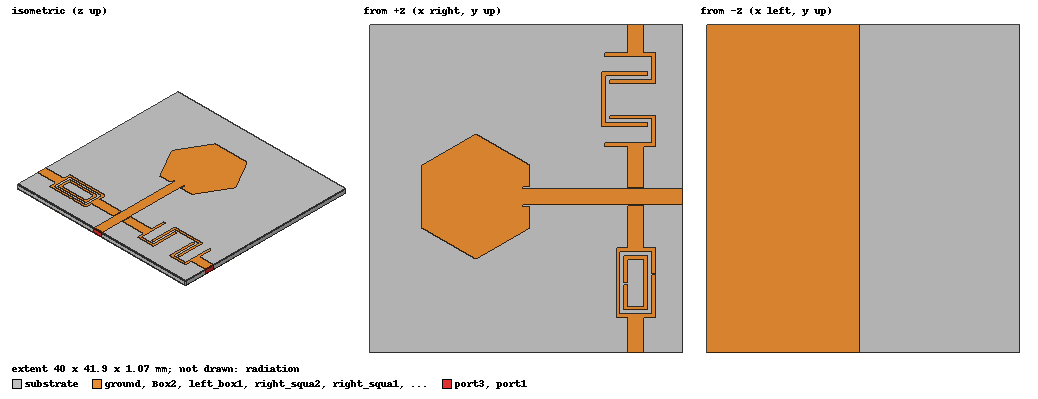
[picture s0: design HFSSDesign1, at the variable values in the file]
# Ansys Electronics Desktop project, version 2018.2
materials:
  vacuum: permittivity=1
  air: permittivity=1.0006 permeability=1.0000004
  copper: permeability=0.999991 conductivity=58000000
  FR4_epoxy: permittivity=4.4 dielectric_loss_tangent=0.02

design HFSSDesign1 (HFSS, DrivenModal, model units mm)
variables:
  x_substrate = 40mm
  y_substrate = 40mm
  z_substrate = 1mm
  l = 20mm
  raidus = 8.5mm
  b = 2mm
  t = 0.035mm
  l1 = 4.5mm
  b1 = 2mm
  b2 = 5mm
  l2 = 8mm
  l3 = 6mm
  b3 = 3mm
  l4 = 5.3mm
  th = 0.5mm
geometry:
  substrate [FR4_epoxy] = box(corner=(0mm, 0mm, 0mm), size=(x_substrate, y_substrate+1.9mm, z_substrate))
  Box2 [copper] = box(corner=(x_substrate, y_substrate/2-1mm, z_substrate), size=(-(l+2mm), b, t))
  RegularPolyhedron1 = polyhedron(axis=Z, centre=(13.57mm, 20mm, z_substrate), first_corner=(13.57mm, 12mm, z_substrate), sides=6, height=t)
  Box3 = box(corner=(20.5mm, 21.3mm, z_substrate), size=(-1mm, -2.6mm, t))
  RegularPolyhedron1.subtract(Box3)
  Box2.unite(RegularPolyhedron1)
  ground [copper] = box(corner=(20.5mm, 0mm, 0mm), size=(x_substrate/2-0.5mm, y_substrate+1.9mm, -t))
  radiation [air] = box(corner=(-30mm, -30mm, -30mm), size=(100mm, 100mm, 60mm))
  port1 = rectangle(corner=(40mm, 19mm, 1mm), y_size=2mm, z_size=-1mm)
  left_squa_1 = box(corner=(x_substrate-5mm, 0mm, z_substrate), size=(-b1, l1, t))
  left_box1 [copper] = box(corner=(x_substrate-8.5mm, y_substrate/2-15.5mm, z_substrate), size=(b2, th, t))
  left_box2 = box(corner=(x_substrate-8.5mm, y_substrate/2-15mm, z_substrate), size=(th, l2, t))
  left_box3 = box(corner=(x_substrate-8.5mm, y_substrate/2-7mm, z_substrate), size=(b2, th, t))
  left_box4 = box(corner=(x_substrate-4mm, y_substrate/2-15mm, z_substrate), size=(th, l2, t))
  left_squa2 = box(corner=(x_substrate-7mm, y_substrate/2-6.5mm, z_substrate), size=(b1, l4, t))
  cut1 = box(corner=(x_substrate-4mm, y_substrate/2-10mm, z_substrate), size=(0.5mm, 0.2mm, t))
  left_box4.subtract(cut1)
  left_rect1 [copper] = box(corner=(x_substrate-7.5mm, y_substrate/2-14.5mm, z_substrate), size=(b3, th, t))
  left_rect2 = box(corner=(x_substrate-7.5mm, y_substrate/2-14mm, z_substrate), size=(th, l3, t))
  left_rect3 = box(corner=(x_substrate-5mm, y_substrate/2-14mm, z_substrate), size=(th, l3, t))
  left_rect4 = box(corner=(x_substrate-7.5mm, y_substrate/2-8mm, z_substrate), size=(b3, th, t))
  left_box1.unite(left_box2, left_box3, left_box4, left_squa_1, left_squa2)
  cut2 = box(corner=(32.5mm, 9mm, z_substrate), size=(0.5mm, -0.2mm, t))
  left_rect2.subtract(cut2)
  left_rect1.unite(left_rect2, left_rect3, left_rect4)
  right_squa1 [copper] = box(corner=(x_substrate-7mm, y_substrate+1.9mm, z_substrate), size=(b1, -(b3+0.5mm), t))
  rigth_box1 = box(corner=(x_substrate-10mm, y_substrate-1.6mm, z_substrate), size=(l3+0.5mm, -th, t))
  right_box2 = box(corner=(x_substrate-3.5mm, y_substrate-2.1mm, z_substrate), size=(-th, -(b3+th), t))
  right_box3 = box(corner=(x_substrate-4mm, y_substrate-8.6mm+3mm, z_substrate), size=(-l4, th, t))
  rigth_rect1 = box(corner=(x_substrate-4.5mm, y_substrate-7.6mm+3mm, z_substrate), size=(-(b2+th), th, t))
  right_rect2 [copper] = box(corner=(x_substrate-10mm+0.2mm, y_substrate-7.1mm+3mm, z_substrate), size=(-th, -(l3+th), t))
  right_rect3 = box(corner=(x_substrate-10.5mm+0.2mm, y_substrate-13.6mm+3mm, z_substrate), size=(l3-0.2mm, -th, t))
  right_box4 = box(corner=(x_substrate-9.3mm, y_substrate-10.1mm, z_substrate), size=(l4, th, t))
  right_box5 = box(corner=(x_substrate-4mm, y_substrate-9.6mm, z_substrate), size=(th, -(b3+th), t))
  right_box6 = box(corner=(x_substrate-3.5mm, y_substrate-13.1mm, z_substrate), size=(-(l3+th), -th, t))
  right_squa2 [copper] = box(corner=(x_substrate-7mm, y_substrate-13.6mm, z_substrate), size=(b1, -(b2+0.2mm), t))
  right_squa1.unite(right_box2, rigth_box1, right_box3)
  right_rect2.unite(rigth_rect1, right_rect3)
  right_squa2.unite(right_box4, right_box5, right_box6)
  port2 [copper] = rectangle(corner=(33mm, 0mm, 1mm), z_size=-1mm, x_size=2mm)
  port3 [copper] = rectangle(corner=(35mm, 41.9mm, 1mm), z_size=-1mm, x_size=-2mm)
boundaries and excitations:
  Rad1: Radiation Objects=radiation
  1: Lumped Port Objects=port1 Modes{Mode1{IntLine{middle of port1.edge(z opposite corner) -> middle of port1.edge(z at corner)} CharImp=Zpi RenormImp=50ohm}} Impedance=50ohm
  2: Lumped Port Objects=port2 Modes{Mode1{IntLine{middle of port2.edge(z opposite corner) -> middle of port2.edge(z at corner)} CharImp=Zpi RenormImp=50ohm}} Impedance=50ohm
  3: Lumped Port Objects=port3 Modes{Mode1{IntLine{middle of port3.edge(z opposite corner) -> middle of port3.edge(z at corner)} CharImp=Zpi RenormImp=50ohm}} Impedance=50ohm
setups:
  Setup1: HfssDriven Frequency=5GHz MaxDeltaS=0.02 MaximumPasses=6 MinimumPasses=1 MinimumConvergedPasses=1 PercentRefinement=30 BasisOrder=1 PortAccuracy=2
    sweep Sweep: 2GHz to 10GHz step 0.02GHz; Type=Fast SaveFields
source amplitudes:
  1:1: 1W 0deg
  2:1, 3:1: 0W 0deg
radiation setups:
  Infinite Sphere1: Infinite Sphere Theta=0deg..360deg step 2deg Phi=-180deg..180deg step 2deg
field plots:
  Mag_E1: E Field over Box2.face(all 16) left_box1.face(all 22) left_rect1.face(all 14) right_rect2.face(3 of 6, 6 of 6, 3 of 6, 6 of 6, +z, -z, -x, +y, +x) right_squa1.face(all 14) right_squa2.face(all 14) on Setup1 : Sweep at Freq=4GHz Phase=0deg
  Mag_E2: E Field over Box2.face(all 16) left_box1.face(all 22) left_rect1.face(all 14) right_rect2.face(3 of 6, 6 of 6, 3 of 6, 6 of 6, +z, -z, -x, +y, +x) right_squa1.face(all 14) right_squa2.face(all 14) on Setup1 : Sweep at Freq=5GHz Phase=0deg
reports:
  S Parameter Plot 1: dB(S(1,1)), dB(S(2,2)), dB(S(3,3)) vs Freq on Setup1 : Sweep
  Gain Plot 1: dB(GainTotal) vs Freq on Setup1 : Sweep, Infinite Sphere1 [Freq=2GHz,2.02GHz,2.04GHz,2.06GHz,2.08GHz,2.1GHz,2.12GHz,2.14GHz,2.16GHz,2.18GHz,2.2GHz,2.22GHz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 Phi=0deg Theta=0deg]
